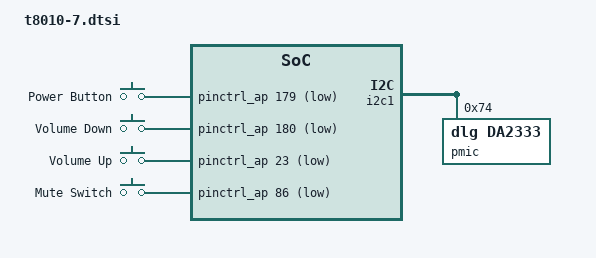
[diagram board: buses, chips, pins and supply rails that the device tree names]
// SPDX-License-Identifier: GPL-2.0+ OR MIT
/*
 * Apple iPhone 7 / 7 Plus common device tree
 *
 * Copyright (c) 2022, Konrad Dybcio <konradybcio@kernel.org>
 */

#include "t8010.dtsi"
#include "t8010-common.dtsi"
#include <dt-bindings/input/input.h>

/ {
	chassis-type = "handset";

	gpio-keys {
		compatible = "gpio-keys";

		button-power {
			label = "Power Button";
			gpios = <&pinctrl_ap 179 GPIO_ACTIVE_LOW>;
			linux,code = <KEY_POWER>;
			wakeup-source;
		};

		button-voldown {
			label = "Volume Down";
			gpios = <&pinctrl_ap 180 GPIO_ACTIVE_LOW>;
			linux,code = <KEY_VOLUMEDOWN>;
		};

		button-volup {
			label = "Volume Up";
			gpios = <&pinctrl_ap 23 GPIO_ACTIVE_LOW>;
			linux,code = <KEY_VOLUMEUP>;
		};

		switch-mute {
			label = "Mute Switch";
			gpios = <&pinctrl_ap 86 GPIO_ACTIVE_LOW>;
			linux,code = <KEY_MUTE>;
		};
	};
};

&framebuffer0 {
	power-domains = <&ps_disp0_fe &ps_disp0_be &ps_mipi_dsi>;
};

&hurricane_opp09 {
	status = "okay";
};

&hurricane_opp10 {
	status = "okay";
};

&i2c1 {
	status = "okay";

	pmic@74 {
		compatible = "dlg,da2333", "dlg,i2c-da2xxx";
		reg = <0x74>;
		#address-cells = <1>;
		#size-cells = <1>;

		rtc@500 {
			compatible = "dlg,da2333-rtc", "dlg,da2255-rtc";
			reg = <0x500 0x10>;
			nvmem-cells = <&rtc_offset>;
			nvmem-cell-names = "rtc_offset";
		};

		nvmem@5000 {
			compatible = "dlg,da2xxx-nvmem";
			reg = <0x5000 0x28>;

			nvmem-layout {
				compatible = "fixed-layout";
				#address-cells = <1>;
				#size-cells = <1>;

				rtc_offset: rtc-offset@4 {
					reg = <0x4 0x4>;
				};
			};
		};
	};
};
